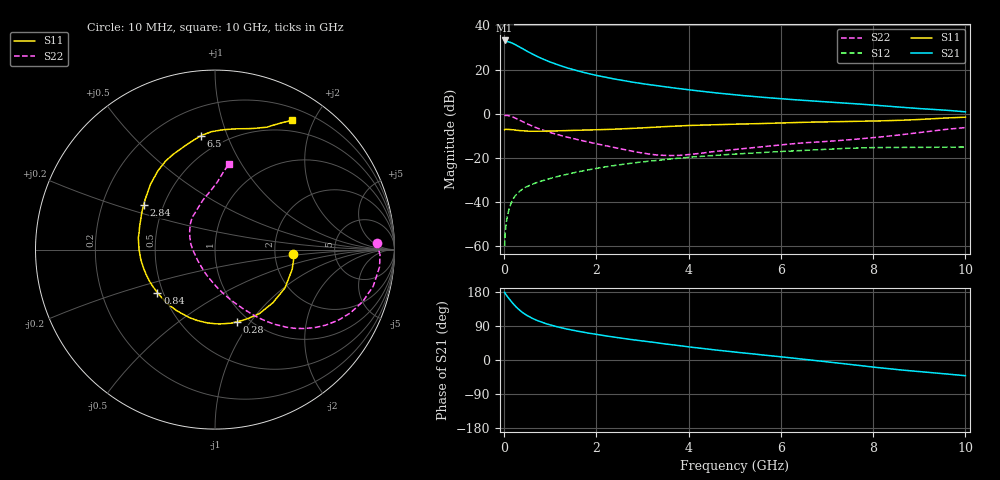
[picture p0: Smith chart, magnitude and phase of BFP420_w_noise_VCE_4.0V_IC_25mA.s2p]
! Infineon Technologies  Discrete & RF Semiconductors
! BFP420
! VCE =  4.0 V,  IC =  25 mA
! Common Emitter S-Parameters:  Jan 2016
# GHz  S  MA  R  50
!  f  S11  S21  S12  S22
! GHz  MAG  ANG  MAG  ANG  MAG  ANG  MAG  ANG
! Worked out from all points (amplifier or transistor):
!   233 points, 10 MHz to 10 GHz, reference 50 ohm
!   highest |S21| = 33.2 dB at 10 MHz (marker M1)
!   |S21| within 3 dB of that: start of sweep to 338.6 MHz
!   unconditionally stable (mu >= 1): start of sweep to 21.28 MHz; 1.696 GHz to end of sweep
!   at 200 MHz: K = 0.34, MSG = 35.1 dB, |S12| = -38.4 dB
!   at 1.74 GHz: K = 1.01, MAG = 21.7 dB, |S12| = -25.7 dB
!   at 10 GHz: K = 1.07, MAG = 6.4 dB, |S12| = -15.1 dB
!   lowest NFmin = 1.38 dB at 900 MHz
!   S11 on the Smith chart (normalised r, x): 10 MHz: 2.52, -0.15; 280 MHz: 0.88, -0.86; 840 MHz: 0.47, -0.27; 2.84 GHz: 0.39, +0.25; 6.5 GHz: 0.38, +0.81; 10 GHz: 0.35, +1.70
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0.01  0.4342 -3.1  45.73 178.7  0.001 61.5  0.9027 2.4
0.02  0.4422 -5.5  44.45 175.9  0.0018 53.4  0.9197 -1.8
0.05  0.4438 -14.3  43.86 170.8  0.0036 68.3  0.922 -6.0
0.1  0.4447 -28.7  42.76 162.6  0.0065 71.6  0.9049 -13.0
0.15  0.4379 -42.5  40.93 154.8  0.0093 70.3  0.8731 -19.3
0.2  0.4341 -55.3  38.8 147.7  0.012 67.9  0.8334 -25.0
0.28  0.4203 -73.3  34.98 137.6  0.0154 64.0  0.7629 -32.6
0.4  0.4108 -95.7  29.76 125.2  0.0197 60.2  0.6622 -41.6
0.5  0.4052 -110.4  25.97 117.2  0.0225 58.2  0.59 -47.2
0.6  0.4018 -122.3  22.83 110.5  0.025 57.0  0.5301 -51.6
0.7  0.4012 -132.2  20.24 105.0  0.0274 56.5  0.4806 -55.2
0.84  0.4005 -143.3  17.36 98.7  0.0306 56.1  0.4257 -59.3
1.2  0.4106 -164.0  12.44 86.1  0.0388 55.7  0.3266 -68.6
1.68  0.4248 177.7  8.88 74.2  0.0501 54.4  0.247 -79.6
2.2  0.4395 162.9  6.686 63.7  0.0627 51.5  0.1887 -92.4
2.84  0.469 147.8  5.086 52.7  0.0776 46.7  0.1377 -115.0
3.4  0.5036 136.6  4.189 44.0  0.0901 41.8  0.1147 -142.3
5.1  0.5828 112.4  2.625 19.7  0.1239 26.3  0.1588 152.0
6.5  0.6401 97.0  2.007 1.8  0.1482 13.8  0.2197 125.5
6.8  0.6497 93.8  1.913 -2.1  0.1536 10.9  0.2289 120.4
8.4  0.6996 74.4  1.459 -23.8  0.1721 -6.8  0.316 96.4
10  0.8366 59.3  1.107 -41.4  0.1765 -19.2  0.4862 80.5
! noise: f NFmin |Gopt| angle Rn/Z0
0.9  1.38  0.22  -154  0.13
1.8  1.65  0.29  -143  0.13
2.4  1.81  0.26  -138  0.17
3  1.83  0.34  -129  0.18
4  1.97  0.45  -112  0.27
5  2.4  0.49  -95  0.44
6  2.85  0.54  -84  0.65
